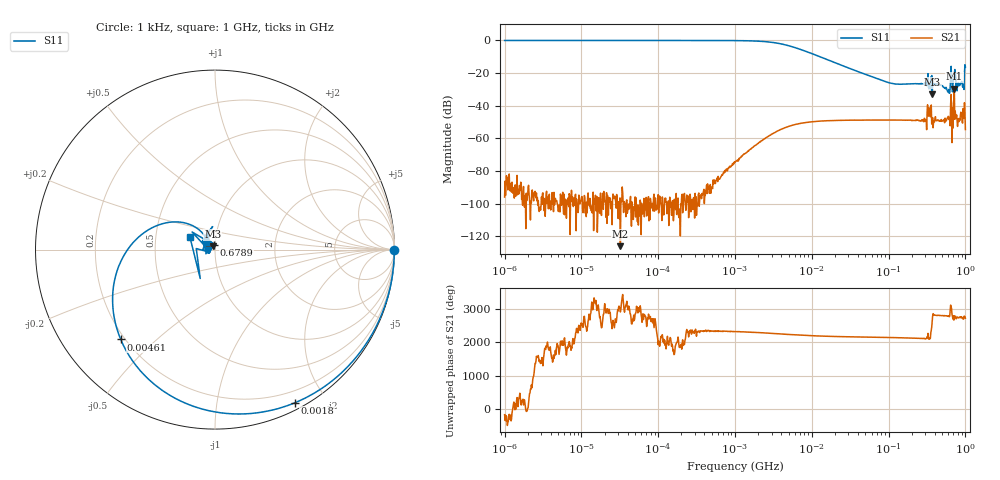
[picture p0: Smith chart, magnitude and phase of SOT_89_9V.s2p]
! ListType=Log
# MHZ S RI R 50
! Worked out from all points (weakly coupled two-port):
!   1000 points, 1 kHz to 1 GHz, reference 50 ohm
!   highest |S21| = -29.54 dB at 717.6 MHz (marker M1); lowest = -126.0 dB at 32.17 kHz (marker M2)
!   lowest |S11| = -33.1 dB at 369.5 MHz (marker M3), VSWR 1.05, Z = 48.7 + j1.77 ohm
!   |S11| at or under -10 dB: 12.82 MHz to end of sweep
!   S12 and S22 are empty: the file has one direction only
!   S11 on the Smith chart (normalised r, x): 1 kHz: open; 1.8 MHz: 0.07, -1.64; 4.61 MHz: 0.18, -0.39; 678.9 MHz: 0.99, +0.05; 1 GHz: 0.75, +0.11
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0.001  0.9994 -9.4e-06  -1.57e-05 -3e-06  0 0  0 0
0.0100694  0.9991 -0.00619  1.46e-05 7.1e-06  0 0  0 0
0.0321742  0.9988 -0.02  4e-07 3e-07  0 0  0 0
0.1013925  0.997 -0.0629  -2.2e-06 -4.7e-06  0 0  0 0
0.7028244  0.9023 -0.4193  -8.68e-05 1.2e-05  0 0  0 0
1.006939  0.8049 -0.5763  -0.00018 4.71e-05  0 0  0 0
1.799929  0.4435 -0.8541  -0.000476 0.000355  0 0  0 0
2.880444  -0.0877 -0.8835  -0.000555 0.00112  0 0  0 0
4.609604  -0.5252 -0.5005  0.000172 0.00216  0 0  0 0
10.13925  -0.3769 0.1066  0.00242 0.00218  0 0  0 0
24.56916  -0.1153 0.1286  0.00347 0.000921  0 0  0 0
100.6939  -0.0387 0.0332  0.00358 -0.00069  0 0  0 0
292.0556  -0.0442 0.0192  0.00326 -0.00252  0 0  0 0
340.0412  -0.043 0.0131  0.00697 -0.00426  0 0  0 0
369.4601  -0.0129 0.0181  -0.00133 0.00278  0 0  0 0
591.2508  -0.0262 0.00312  0.000349 -0.00411  0 0  0 0
678.9407  -0.00502 0.0263  -0.00323 -0.00777  0 0  0 0
717.5561  -0.0707 0.0452  0.00589 -0.0328  0 0  0 0
801.5007  -0.0399 -0.00698  -0.00272 -0.00234  0 0  0 0
895.2657  -0.0555 -2.87e-05  -0.00368 -0.00346  0 0  0 0
920.3732  -0.0315 -0.0202  -0.00286 -0.000687  0 0  0 0
1000  -0.1396 0.0688  -0.00169 -0.000788  0 0  0 0
